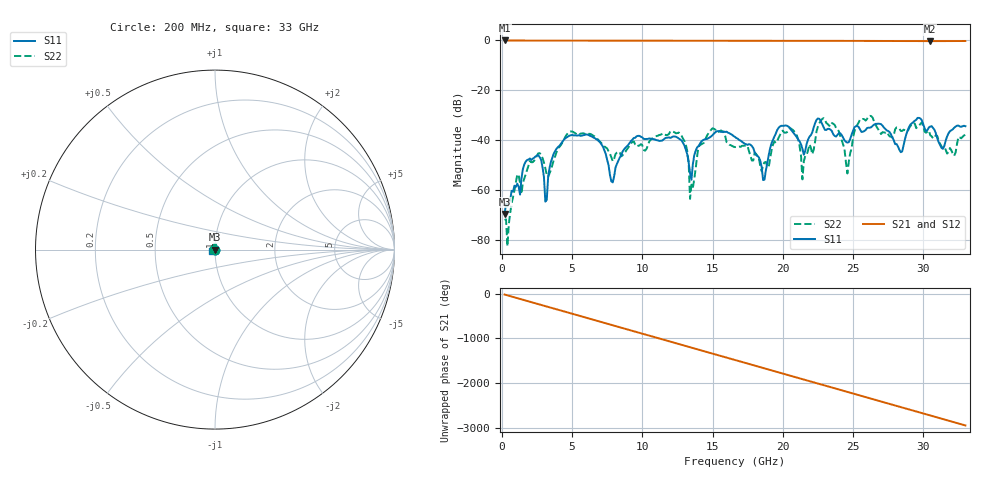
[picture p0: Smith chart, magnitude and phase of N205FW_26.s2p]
# GHZ S RI R 50
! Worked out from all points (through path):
!   329 points, 200 MHz to 33 GHz, reference 50 ohm
!   highest |S21| = -0.02 dB at 200 MHz (marker M1); lowest = -0.3 dB at 30.5 GHz (marker M2)
!   group delay of S21, straight-line fit = 248 ps
!   lowest |S11| = -69.6 dB at 200 MHz (marker M3), VSWR 1.00, Z = 50 + j0.00128 ohm
!   |S11| at or under -10 dB: start of sweep to end of sweep
!   |S22| runs from -82.5 to -30.3 dB; largest |S21 - S12| = 0.0022
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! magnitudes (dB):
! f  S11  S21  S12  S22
! 200 MHz  -69.6  0.0  0.0  -72.1
! 1.1 GHz  -57.5  -0.1  -0.1  -53.8
! 2.6 GHz  -46.1  -0.1  -0.1  -45.3
! 3.1 GHz  -64.7  -0.1  -0.1  -51.3
! 3.8 GHz  -44.3  -0.1  -0.1  -46.4
! 5.7 GHz  -38.2  -0.1  -0.1  -37.3
! 7.9 GHz  -56.9  -0.1  -0.1  -48.4
! 11.2 GHz  -40.3  -0.2  -0.2  -38.0
! 13 GHz  -42.2  -0.2  -0.2  -40.4
! 13.4 GHz  -53.1  -0.1  -0.1  -63.6
! 14.8 GHz  -38.9  -0.2  -0.2  -36.4
! 16.6 GHz  -38.7  -0.2  -0.2  -42.8
! 18.6 GHz  -56.0  -0.2  -0.2  -50.0
! 19.7 GHz  -35.1  -0.2  -0.2  -39.1
! 21.4 GHz  -43.5  -0.2  -0.2  -55.7
! 22.1 GHz  -36.9  -0.2  -0.2  -45.6
! 22.9 GHz  -34.7  -0.2  -0.2  -31.2
! 24.6 GHz  -41.0  -0.2  -0.2  -53.4
! 25.5 GHz  -35.7  -0.2  -0.2  -31.7
! 27.6 GHz  -36.7  -0.2  -0.2  -38.5
! 30.5 GHz  -34.5  -0.3  -0.3  -38.0
! 33 GHz  -34.4  -0.2  -0.2  -37.8
